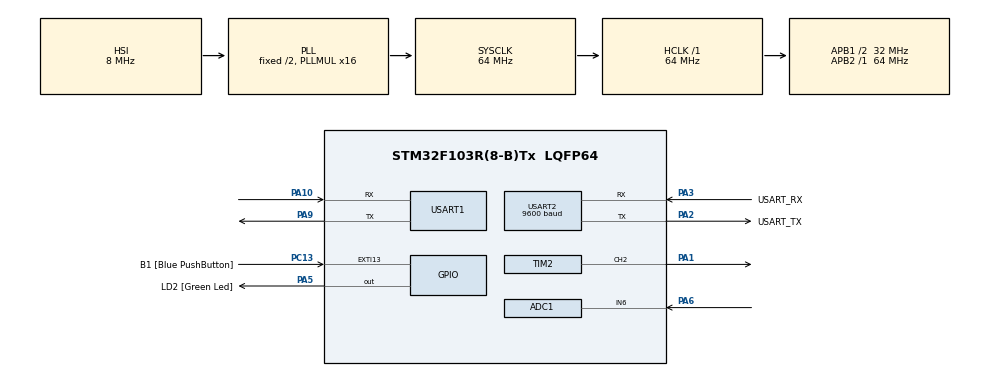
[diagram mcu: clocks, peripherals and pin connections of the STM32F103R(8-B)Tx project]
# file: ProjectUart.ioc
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ADC1.Channel-0\#ChannelRegularConversion=ADC_CHANNEL_6
ADC1.ContinuousConvMode=ENABLE
ADC1.NbrOfConversionFlag=1
ADC1.Rank-0\#ChannelRegularConversion=1
ADC1.SamplingTime-0\#ChannelRegularConversion=ADC_SAMPLETIME_41CYCLES_5
ADC1.master=1
Mcu.Family=STM32F1
Mcu.Name=STM32F103R(8-B)Tx
Mcu.Package=LQFP64
NVIC.EXTI15_10_IRQn=true\:0\:0\:false\:false\:true\:true\:true\:true
NVIC.PriorityGroup=NVIC_PRIORITYGROUP_4
NVIC.USART1_IRQn=true\:0\:0\:false\:false\:true\:true\:true\:true
NVIC.USART2_IRQn=true\:0\:0\:false\:false\:true\:true\:true\:true
PA1.Signal=S_TIM2_CH2
PA10.Mode=Asynchronous
PA10.Signal=USART1_RX
PA13.GPIO_Label=TMS
PA13.Mode=Serial_Wire
PA13.Signal=SYS_JTMS-SWDIO
PA14.GPIO_Label=TCK
PA14.Mode=Serial_Wire
PA14.Signal=SYS_JTCK-SWCLK
PA2.GPIO_Label=USART_TX
PA2.GPIO_Mode=GPIO_MODE_AF_PP
PA2.GPIO_PuPd=GPIO_NOPULL
PA2.GPIO_Speed=GPIO_SPEED_FREQ_LOW
PA2.Mode=Asynchronous
PA2.Signal=USART2_TX
PA3.GPIO_Label=USART_RX
PA3.GPIO_Mode=GPIO_MODE_AF_PP
PA3.GPIO_PuPd=GPIO_NOPULL
PA3.GPIO_Speed=GPIO_SPEED_FREQ_LOW
PA3.Mode=Asynchronous
PA3.Signal=USART2_RX
PA5.GPIO_Label=LD2 [Green Led]
PA5.GPIO_ModeDefaultOutputPP=GPIO_MODE_OUTPUT_PP
PA5.GPIO_PuPd=GPIO_NOPULL
PA5.GPIO_Speed=GPIO_SPEED_FREQ_LOW
PA5.Signal=GPIO_Output
PA6.Signal=ADCx_IN6
PA9.Mode=Asynchronous
PA9.Signal=USART1_TX
PB3.GPIO_Label=SWO
PB3.Signal=SYS_JTDO-TRACESWO
PC13-TAMPER-RTC.GPIO_Label=B1 [Blue PushButton]
PC13-TAMPER-RTC.GPIO_PuPd=GPIO_NOPULL
PC13-TAMPER-RTC.Signal=GPXTI13
PC14-OSC32_IN.Mode=LSE-External-Oscillator
PC14-OSC32_IN.Signal=RCC_OSC32_IN
PC15-OSC32_OUT.Mode=LSE-External-Oscillator
PC15-OSC32_OUT.Signal=RCC_OSC32_OUT
PD0-OSC_IN.Mode=HSE-External-Clock-Source
PD0-OSC_IN.Signal=RCC_OSC_IN
PD1-OSC_OUT.Mode=HSE-External-Clock-Source
PD1-OSC_OUT.Signal=RCC_OSC_OUT
ProjectManager.HeapSize=0x200
ProjectManager.StackSize=0x400
ProjectManager.TargetToolchain=STM32CubeIDE
RCC.ADCPresc=RCC_ADCPCLK2_DIV8
RCC.AHBFreq_Value=64000000
RCC.APB1CLKDivider=RCC_HCLK_DIV2
RCC.APB1Freq_Value=32000000
RCC.APB1TimFreq_Value=64000000
RCC.APB2Freq_Value=64000000
RCC.APB2TimFreq_Value=64000000
RCC.HCLKFreq_Value=64000000
RCC.PLLMUL=RCC_PLL_MUL16
RCC.RTCClockSelection=RCC_RTCCLKSOURCE_LSE
RCC.SYSCLKFreq_VALUE=64000000
RCC.SYSCLKSource=RCC_SYSCLKSOURCE_PLLCLK
RCC.USBFreq_Value=64000000
SH.ADCx_IN6.0=ADC1_IN6,IN6
SH.S_TIM2_CH2.0=TIM2_CH2,PWM Generation2 CH2
TIM2.Channel-PWM\ Generation2\ CH2=TIM_CHANNEL_2
TIM2.Period=20000-1
TIM2.Prescaler=64-1
USART1.VirtualMode=VM_ASYNC
USART2.BaudRate=9600
USART2.VirtualMode=VM_ASYNC
VP_TIM2_VS_ClockSourceINT.Mode=Internal
board=NUCLEO-F103RB

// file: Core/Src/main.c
/* USER CODE BEGIN Header */
/**
  ******************************************************************************
  * @file           : main.c
  * @brief          : Main program body
  ******************************************************************************
  * @attention
  *
  * Copyright (c) 2022 STMicroelectronics.
  * All rights reserved.
  *
  * This software is licensed under terms that can be found in the LICENSE file
  * in the root directory of this software component.
  * If no LICENSE file comes with this software, it is provided AS-IS.
  *
  ******************************************************************************
  */
/* USER CODE END Header */
#include "main.h"

/* USER CODE BEGIN Includes */
#include "stdio.h"
/* USER CODE END Includes */

/* USER CODE BEGIN PTD */
#ifdef __GNUC__
/* With GCC, small printf (option LD Linker->Libraries->Small printf
   set to 'Yes') calls __io_putchar() */
#define PUTCHAR_PROTOTYPE int __io_putchar(int ch)
#else
#define PUTCHAR_PROTOTYPE int fputc(int ch, FILE *f)
#endif /* __GNUC__ */
void SystemClock_Config(void);
/* USER CODE END PTD */

/* USER CODE BEGIN PD */
#define TxBufferSize (countof(TxBuffer)-1)
#define RxBufferSize 0xFF
#define countof(a) (sizeof(a) / sizeof(*(a)))
/* USER CODE END PD */

 ADC_HandleTypeDef hadc1;

TIM_HandleTypeDef htim2;

UART_HandleTypeDef huart1;
UART_HandleTypeDef huart2;

/* USER CODE BEGIN PV */
uint32_t adc_value;
/* USER CODE END PV */

void SystemClock_Config(void);
static void MX_GPIO_Init(void);
static void MX_USART2_UART_Init(void);
static void MX_ADC1_Init(void);
static void MX_TIM2_Init(void);
static void MX_USART1_UART_Init(void);

/* USER CODE BEGIN 0 */
uint8_t TxBuffer[30];
uint8_t RxBuffer[RxBufferSize];
/* USER CODE END 0 */

int main(void)
{

  /* MCU Configuration--------------------------------------------------------*/

  /* Reset of all peripherals, Initializes the Flash interface and the Systick. */
  HAL_Init();

  /* Configure the system clock */
  SystemClock_Config();

  /* Initialize all configured peripherals */
  MX_GPIO_Init();
  MX_USART2_UART_Init();
  MX_ADC1_Init();
  MX_TIM2_Init();
  MX_USART1_UART_Init();
  /* USER CODE BEGIN 2 */
  HAL_TIM_PWM_Start(&htim2, TIM_CHANNEL_2);
  HAL_ADC_Start(&hadc1);
  /* USER CODE END 2 */

  /* Infinite loop */
  /* USER CODE BEGIN WHILE */
  while (1)
  {

	  HAL_ADC_PollForConversion(&hadc1, 100);
	  adc_value = HAL_ADC_GetValue(&hadc1);

	  sprintf(TxBuffer, "%d", adc_value);
	  //HAL_UART_Transmit(&huart2, TxBuffer[0], TxBufferSize, 100);
	  printf("%c ",TxBuffer[0]);
	  printf("%c ",TxBuffer[1]);
	  printf("%c ",TxBuffer[2]);
	  printf("%c ",TxBuffer[3]);
	  printf("\r\n");

	  HAL_UART_Transmit(&huart1, TxBuffer, 4, 0xFFFF);

	  HAL_Delay(10);

    /* US
    /* USER CODE END WHILE */

  }
}

void SystemClock_Config(void)
{
  RCC_OscInitTypeDef RCC_OscInitStruct = {0};
  RCC_ClkInitTypeDef RCC_ClkInitStruct = {0};
  RCC_PeriphCLKInitTypeDef PeriphClkInit = {0};

  /** Initializes the RCC Oscillators according to the specified parameters
  * in the RCC_OscInitTypeDef structure.
  */
  RCC_OscInitStruct.OscillatorType = RCC_OSCILLATORTYPE_HSI;
  RCC_OscInitStruct.HSIState = RCC_HSI_ON;
  RCC_OscInitStruct.HSICalibrationValue = RCC_HSICALIBRATION_DEFAULT;
  RCC_OscInitStruct.PLL.PLLState = RCC_PLL_ON;
  RCC_OscInitStruct.PLL.PLLSource = RCC_PLLSOURCE_HSI_DIV2;
  RCC_OscInitStruct.PLL.PLLMUL = RCC_PLL_MUL16;
  if (HAL_RCC_OscConfig(&RCC_OscInitStruct) != HAL_OK)
  {
    Error_Handler();
  }

  /** Initializes the CPU, AHB and APB buses clocks
  */
  RCC_ClkInitStruct.ClockType = RCC_CLOCKTYPE_HCLK|RCC_CLOCKTYPE_SYSCLK
                              |RCC_CLOCKTYPE_PCLK1|RCC_CLOCKTYPE_PCLK2;
  RCC_ClkInitStruct.SYSCLKSource = RCC_SYSCLKSOURCE_PLLCLK;
  RCC_ClkInitStruct.AHBCLKDivider = RCC_SYSCLK_DIV1;
  RCC_ClkInitStruct.APB1CLKDivider = RCC_HCLK_DIV2;
  RCC_ClkInitStruct.APB2CLKDivider = RCC_HCLK_DIV1;

  if (HAL_RCC_ClockConfig(&RCC_ClkInitStruct, FLASH_LATENCY_2) != HAL_OK)
  {
    Error_Handler();
  }
  PeriphClkInit.PeriphClockSelection = RCC_PERIPHCLK_ADC;
  PeriphClkInit.AdcClockSelection = RCC_ADCPCLK2_DIV8;
  if (HAL_RCCEx_PeriphCLKConfig(&PeriphClkInit) != HAL_OK)
  {
    Error_Handler();
  }
}

static void MX_ADC1_Init(void)
{

  ADC_ChannelConfTypeDef sConfig = {0};

  /** Common config
  */
  hadc1.Instance = ADC1;
  hadc1.Init.ScanConvMode = ADC_SCAN_DISABLE;
  hadc1.Init.ContinuousConvMode = ENABLE;
  hadc1.Init.DiscontinuousConvMode = DISABLE;
  hadc1.Init.ExternalTrigConv = ADC_SOFTWARE_START;
  hadc1.Init.DataAlign = ADC_DATAALIGN_RIGHT;
  hadc1.Init.NbrOfConversion = 1;
  if (HAL_ADC_Init(&hadc1) != HAL_OK)
  {
    Error_Handler();
  }

  /** Configure Regular Channel
  */
  sConfig.Channel = ADC_CHANNEL_6;
  sConfig.Rank = ADC_REGULAR_RANK_1;
  sConfig.SamplingTime = ADC_SAMPLETIME_41CYCLES_5;
  if (HAL_ADC_ConfigChannel(&hadc1, &sConfig) != HAL_OK)
  {
    Error_Handler();
  }

}

static void MX_TIM2_Init(void)
{

  TIM_ClockConfigTypeDef sClockSourceConfig = {0};
  TIM_MasterConfigTypeDef sMasterConfig = {0};
  TIM_OC_InitTypeDef sConfigOC = {0};

  htim2.Instance = TIM2;
  htim2.Init.Prescaler = 64-1;
  htim2.Init.CounterMode = TIM_COUNTERMODE_UP;
  htim2.Init.Period = 20000-1;
  htim2.Init.ClockDivision = TIM_CLOCKDIVISION_DIV1;
  htim2.Init.AutoReloadPreload = TIM_AUTORELOAD_PRELOAD_DISABLE;
  if (HAL_TIM_Base_Init(&htim2) != HAL_OK)
  {
    Error_Handler();
  }
  sClockSourceConfig.ClockSource = TIM_CLOCKSOURCE_INTERNAL;
  if (HAL_TIM_ConfigClockSource(&htim2, &sClockSourceConfig) != HAL_OK)
  {
    Error_Handler();
  }
  if (HAL_TIM_PWM_Init(&htim2) != HAL_OK)
  {
    Error_Handler();
  }
  sMasterConfig.MasterOutputTrigger = TIM_TRGO_RESET;
  sMasterConfig.MasterSlaveMode = TIM_MASTERSLAVEMODE_DISABLE;
  if (HAL_TIMEx_MasterConfigSynchronization(&htim2, &sMasterConfig) != HAL_OK)
  {
    Error_Handler();
  }
  sConfigOC.OCMode = TIM_OCMODE_PWM1;
  sConfigOC.Pulse = 0;
  sConfigOC.OCPolarity = TIM_OCPOLARITY_HIGH;
  sConfigOC.OCFastMode = TIM_OCFAST_DISABLE;
  if (HAL_TIM_PWM_ConfigChannel(&htim2, &sConfigOC, TIM_CHANNEL_2) != HAL_OK)
  {
    Error_Handler();
  }
  HAL_TIM_MspPostInit(&htim2);

}

static void MX_USART1_UART_Init(void)
{

  huart1.Instance = USART1;
  huart1.Init.BaudRate = 115200;
  huart1.Init.WordLength = UART_WORDLENGTH_8B;
  huart1.Init.StopBits = UART_STOPBITS_1;
  huart1.Init.Parity = UART_PARITY_NONE;
  huart1.Init.Mode = UART_MODE_TX_RX;
  huart1.Init.HwFlowCtl = UART_HWCONTROL_NONE;
  huart1.Init.OverSampling = UART_OVERSAMPLING_16;
  if (HAL_UART_Init(&huart1) != HAL_OK)
  {
    Error_Handler();
  }

}

static void MX_USART2_UART_Init(void)
{

  huart2.Instance = USART2;
  huart2.Init.BaudRate = 9600;
  huart2.Init.WordLength = UART_WORDLENGTH_8B;
  huart2.Init.StopBits = UART_STOPBITS_1;
  huart2.Init.Parity = UART_PARITY_NONE;
  huart2.Init.Mode = UART_MODE_TX_RX;
  huart2.Init.HwFlowCtl = UART_HWCONTROL_NONE;
  huart2.Init.OverSampling = UART_OVERSAMPLING_16;
  if (HAL_UART_Init(&huart2) != HAL_OK)
  {
    Error_Handler();
  }

}

static void MX_GPIO_Init(void)
{
  GPIO_InitTypeDef GPIO_InitStruct = {0};

  /* GPIO Ports Clock Enable */
  __HAL_RCC_GPIOC_CLK_ENABLE();
  __HAL_RCC_GPIOD_CLK_ENABLE();
  __HAL_RCC_GPIOA_CLK_ENABLE();
  __HAL_RCC_GPIOB_CLK_ENABLE();

  /*Configure GPIO pin Output Level */
  HAL_GPIO_WritePin(LD2_GPIO_Port, LD2_Pin, GPIO_PIN_RESET);

  /*Configure GPIO pin : B1_Pin */
  GPIO_InitStruct.Pin = B1_Pin;
  GPIO_InitStruct.Mode = GPIO_MODE_IT_RISING;
  GPIO_InitStruct.Pull = GPIO_NOPULL;
  HAL_GPIO_Init(B1_GPIO_Port, &GPIO_InitStruct);

  /*Configure GPIO pin : LD2_Pin */
  GPIO_InitStruct.Pin = LD2_Pin;
  GPIO_InitStruct.Mode = GPIO_MODE_OUTPUT_PP;
  GPIO_InitStruct.Pull = GPIO_NOPULL;
  GPIO_InitStruct.Speed = GPIO_SPEED_FREQ_LOW;
  HAL_GPIO_Init(LD2_GPIO_Port, &GPIO_InitStruct);

  /* EXTI interrupt init*/
  HAL_NVIC_SetPriority(EXTI15_10_IRQn, 0, 0);
  HAL_NVIC_EnableIRQ(EXTI15_10_IRQn);

}

/* USER CODE BEGIN 4 */
PUTCHAR_PROTOTYPE
{
  /* Place your implementation of fputc here */
  /* e.g. write a character to the USART1 and Loop until the end of transmission */
  HAL_UART_Transmit(&huart2, (uint8_t *)&ch, 1, 0xFFFF);

  return ch;
}

//void HAL_UART_RxCpltCallback(UART_HandleTypeDef *huart1)
//{
//	HAL_UART_Transmit_IT(huart1, RxBuffer, 1);
//}
/* USER CODE END 4 */

void Error_Handler(void)
{
  __disable_irq();
  while (1)
  {
  }
}
